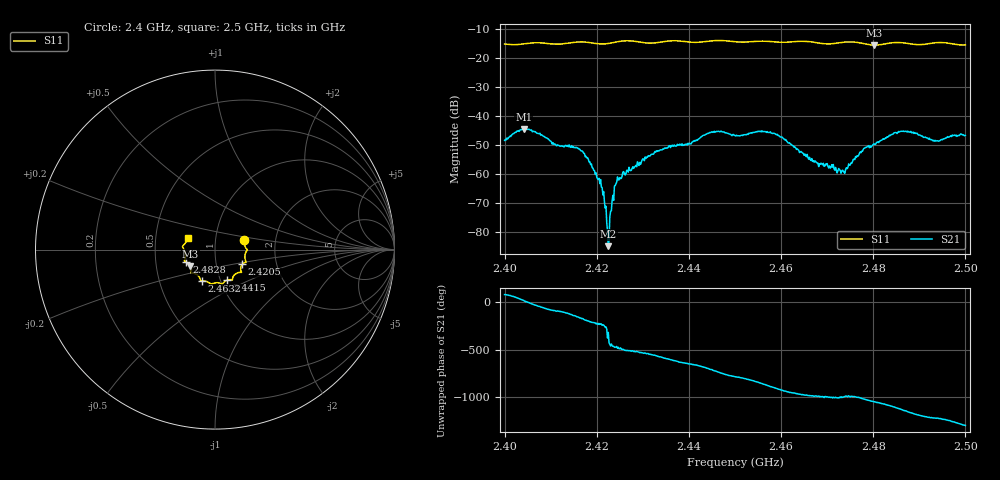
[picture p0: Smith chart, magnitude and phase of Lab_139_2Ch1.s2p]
# Hz S RI R 50
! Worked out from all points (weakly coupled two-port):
!   601 points, 2.4 GHz to 2.5 GHz, reference 50 ohm
!   highest |S21| = -44.44 dB at 2.4042 GHz (marker M1); lowest = -84.7 dB at 2.4225 GHz (marker M2)
!   lowest |S11| = -15.7 dB at 2.4802 GHz (marker M3), VSWR 1.39, Z = 37.4 - j6.97 ohm
!   |S11| at or under -10 dB: start of sweep to end of sweep
!   S12 and S22 are empty: the file has one direction only
!   S11 on the Smith chart (normalised r, x): 2.4 GHz: 1.38, +0.15; 2.4205 GHz: 1.34, -0.22; 2.4415 GHz: 1.07, -0.38; 2.4632 GHz: 0.82, -0.29; 2.4828 GHz: 0.72, -0.10; 2.5 GHz: 0.73, +0.10
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2.4e9  0.1631 0.0515  0.000527 0.00377  0 0  0 0
2.404167e9  0.1723 0.00918  0.00568 0.00194  0 0  0 0
2.416667e9  0.1729 -0.0695  -0.00248 -0.000346  0 0  0 0
2.4205e9  0.1519 -0.0814  -0.0005 0.000688  0 0  0 0
2.421167e9  0.1478 -0.087  -0.000258 0.00053  0 0  0 0
2.422167e9  0.144 -0.0969  3.33e-05 0.000143  0 0  0 0
2.4225e9  0.1434 -0.1  4.35e-05 3.87e-05  0 0  0 0
2.4245e9  0.1451 -0.1187  -0.000546 -0.000715  0 0  0 0
2.433333e9  0.1006 -0.1515  -0.00213 0.00138  0 0  0 0
2.4415e9  0.0654 -0.1708  0.00214 0.00308  0 0  0 0
2.445e9  0.0435 -0.1896  0.00531 0.00068  0 0  0 0
2.45e9  0.0244 -0.186  0.00177 -0.00427  0 0  0 0
2.4575e9  -0.0284 -0.1874  -0.0051 -0.00105  0 0  0 0
2.463167e9  -0.0732 -0.174  -0.00121 0.00257  0 0  0 0
2.466667e9  -0.0817 -0.1671  1.65e-05 0.00185  0 0  0 0
2.4735e9  -0.1296 -0.1303  0.000289 0.00109  0 0  0 0
2.480167e9  -0.1368 -0.0907  0.00297 0.0015  0 0  0 0
2.482833e9  -0.1589 -0.0702  0.00417 -0.000299  0 0  0 0
2.483333e9  -0.1627 -0.0682  0.00435 -0.000858  0 0  0 0
2.487667e9  -0.1669 -0.0499  0.000744 -0.00526  0 0  0 0
2.493833e9  -0.1804 0.014  -0.00309 -0.00211  0 0  0 0
2.5e9  -0.1525 0.0646  -0.00335 0.00321  0 0  0 0
